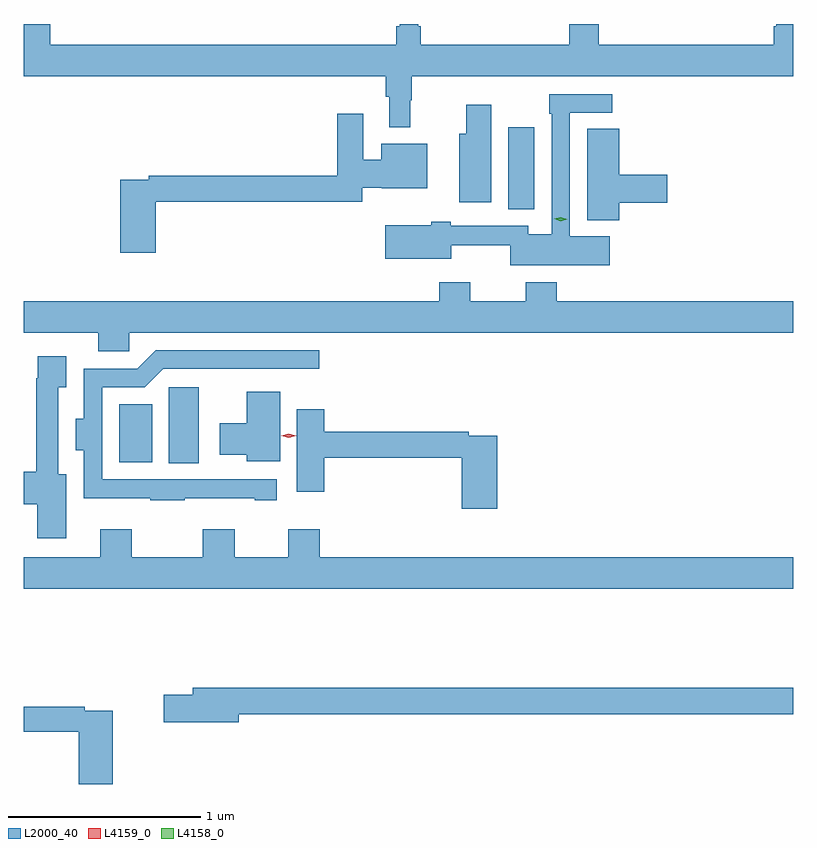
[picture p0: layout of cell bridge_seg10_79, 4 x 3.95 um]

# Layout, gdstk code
import gdstk
lib = gdstk.Library(unit=1e-6, precision=1e-09)
def R(c, l, rs):  # rectangles x0, y0, x1, y1
    for r in rs: c.add(gdstk.rectangle(r[:2], r[2:], *l))
def P(c, l, *ps):  # polygons
    for p in ps: c.add(gdstk.Polygon(p, *l))
L2000_40 = (2000, 40)
L4158_0 = (4158, 0)
L4159_0 = (4159, 0)

bridge_seg10_79 = lib.new_cell('bridge_seg10_79')
R(bridge_seg10_79, L2000_40, [(675.296,1300.969,675.451,1301.364), (675.038,1300.973,675.208,1301.275), (677.06,1302.289,677.197,1302.715)])
P(bridge_seg10_79, L2000_40, [(676.552,1302.857),(676.559,1302.857),(676.559,1302.98),(678.542,1302.98),(678.542,1303.253),(678.455,1303.253),(678.455,1303.242),(678.443,1303.242),(678.443,1303.144),(677.531,1303.144),(677.531,1303.253),(677.378,1303.253),(677.378,1303.144),(676.607,1303.144),(676.607,1303.24),(676.593,1303.24),(676.593,1303.253),(676.496,1303.253),(676.496,1303.24),(676.477,1303.24),(676.477,1303.144),(674.678,1303.144),(674.678,1303.253),(674.542,1303.253),(674.542,1302.98),(676.423,1302.98),(676.423,1302.874),(676.442,1302.874),(676.442,1302.717),(676.552,1302.717)],
  [(677.59,1302.148),(677.382,1302.148),(677.382,1302.792),(677.602,1302.792),(677.602,1302.888),(677.274,1302.888),(677.274,1302.785),(677.286,1302.785),(677.286,1302.16),(677.166,1302.16),(677.166,1302.204),(676.761,1302.204),(676.761,1302.224),(676.661,1302.224),(676.661,1302.205),(676.421,1302.205),(676.421,1302.032),(676.765,1302.032),(676.765,1302.103),(677.07,1302.103),(677.07,1301.999),(677.59,1301.999)],
  [(676.972,1302.832),(676.843,1302.832),(676.843,1302.682),(676.805,1302.682),(676.805,1302.326),(676.972,1302.326)],
  [(675.227,1302.328),(676.302,1302.328),(676.302,1302.402),(676.404,1302.402),(676.404,1302.398),(676.639,1302.398),(676.639,1302.631),(676.4,1302.631),(676.4,1302.546),(676.306,1302.546),(676.306,1302.787),(676.172,1302.787),(676.172,1302.464),(675.19,1302.464),(675.19,1302.444),(675.044,1302.444),(675.044,1302.063),(675.227,1302.063)],
  [(677.638,1302.323),(677.887,1302.323),(677.887,1302.47),(677.638,1302.47),(677.638,1302.707),(677.471,1302.707),(677.471,1302.233),(677.638,1302.233)],
  [(677.152,1301.911),(677.152,1301.812),(676.863,1301.812),(676.863,1301.911),(676.703,1301.911),(676.703,1301.812),(674.542,1301.812),(674.542,1301.648),(674.927,1301.648),(674.927,1301.55),(675.09,1301.55),(675.09,1301.648),(678.542,1301.648),(678.542,1301.812),(677.312,1301.812),(677.312,1301.911)],
  [(675.377,1300.787),(675.743,1300.787),(675.743,1300.776),(675.856,1300.776),(675.856,1300.884),(674.949,1300.884),(674.949,1301.364),(675.171,1301.364),(675.267,1301.46),(676.078,1301.46),(676.078,1301.556),(675.228,1301.556),(675.132,1301.46),(674.852,1301.46),(674.852,1301.2),(674.81,1301.2),(674.81,1301.036),(674.853,1301.036),(674.853,1300.787),(675.199,1300.787),(675.199,1300.776),(675.377,1300.776)],
  [(674.761,1300.912),(674.721,1300.912),(674.721,1301.363),(674.761,1301.363),(674.761,1301.524),(674.613,1301.524),(674.613,1301.411),(674.605,1301.411),(674.605,1300.925),(674.542,1300.925),(674.542,1300.754),(674.612,1300.754),(674.612,1300.578),(674.761,1300.578)],
  [(675.874,1301.341),(675.701,1301.341),(675.701,1301.176),(675.561,1301.176),(675.561,1301.012),(675.701,1301.012),(675.701,1300.979),(675.874,1300.979)],
  [(677.003,1301.112),(676.856,1301.112),(676.856,1301.132),(676.103,1301.132),(676.103,1301.248),(675.962,1301.248),(675.962,1300.821),(676.103,1300.821),(676.103,1300.996),(676.82,1300.996),(676.82,1300.731),(677.003,1300.731)],
  [(678.542,1300.48),(676.081,1300.48),(676.081,1300.624),(675.917,1300.624),(675.917,1300.48),(675.637,1300.48),(675.637,1300.624),(675.473,1300.624),(675.473,1300.48),(675.103,1300.48),(675.103,1300.624),(674.939,1300.624),(674.939,1300.48),(674.542,1300.48),(674.542,1300.316),(678.542,1300.316)],
  [(675.658,1299.664),(678.542,1299.664),(678.542,1299.8),(675.419,1299.8),(675.419,1299.764),(675.27,1299.764),(675.27,1299.622),(675.658,1299.622)],
  [(675.005,1299.681),(674.858,1299.681),(674.858,1299.701),(674.542,1299.701),(674.542,1299.573),(674.827,1299.573),(674.827,1299.3),(675.005,1299.3)])
P(bridge_seg10_79, L4158_0, [(677.333,1302.228),(677.299,1302.239),(677.299,1302.239),(677.299,1302.239),(677.334,1302.248),(677.368,1302.238),(677.368,1302.238),(677.368,1302.238)])
P(bridge_seg10_79, L4159_0, [(675.918,1301.101),(675.879,1301.111),(675.879,1301.111),(675.879,1301.111),(675.918,1301.121),(675.957,1301.111),(675.958,1301.111),(675.957,1301.111)])

lib.write_gds('bridge_seg10_79.gds')
